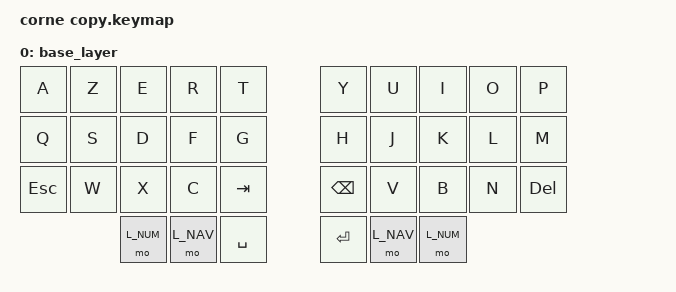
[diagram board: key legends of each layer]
// &mo LOWER

// layer tap : hold = enable layer LOWER else tap/send key space
// &lt LOWER SPACE

/*&lt {
  tapping-term-ms = <200>;
};*/

// enable this layer and disable all layers except the default one
// &to LOWER

// toggle layer
// &tog LOWER

// &trans
// &none

// hold tab : hold = LSHIFT est activé else tap/send key F
// &mt LSHIFT F

// &ht_hp : hold     : si on presse une autre key pendant celle là, ca fait le hold
// &ht_bp : balanced : si on presse et relâche une autre key pendant celle là, ca fait le hold
// &ht_tp : tap      : si on presse une autre key pendant celle là, ca ne fait rien


// ======
#include <behaviors.dtsi>
#include <dt-bindings/zmk/keys.h>
#include <dt-bindings/zmk/bt.h>

#include "keymap_french.h"
// #include "helper.h"
// #include "french_unicode.dtsi"

#define L_BASE 0
#define L_NUM  1
#define L_NAV  2

// ========
// BEHAVIOR
// ========

behaviors {
  single_quote_backquote: hold-tap {
    compatible = "zmk,behavior-hold-tap";
    label = "SINGLE_QUOTE_BACKQUOTE";
    #binding-cells = <2>;
    flavor = "tap-unless-interrupted";
    tapping-term-ms = <200>;
    bindings = <SINGLE_QUOTE, BACKQUOTE>;
  };
};

// =====
// COMBO
// =====

combos {
  compatible = "zmk,combos";
  combo_esc {
    timeout-ms = <30>;
    key-positions = <0 1>;
    bindings = <&kp ESC>;
  };
  combo_ae {
    timeout-ms = <30>;
    key-positions = <0 2>;
    bindings = <&AE>;
  };
  combo_oe {
    timeout-ms = <30>;
    key-positions = <2 8>;
    bindings = <&OE>;
  };
};


// ======
// KEYMAP
// ======

/ {
  keymap {
    compatible = "zmk,keymap";

    base_layer {
      bindings = <
        &kp A      &kp Z &kp E &kp R &kp T        &kp Y         &kp U &kp I &kp O &kp P
        &kp Q      &kp S &kp D &kp F &kp G        &kp H         &kp J &kp K &kp L &kp M 
        &kp ESCAPE &kp W &kp X &kp C &kp TAB      &kp BACKSPACE &kp V &kp B &kp N &kp DELETE 

        &mo L_NUM &mo L_NAV &kp SPACE             &kp ENTER &mo L_NAV &mo L_NUM 
      >;
    };
/*
    num_layer {
      bindings = <
        &kp AMPERSAND &kp DOUBLE_QUOTES &single_quote_backquote &kp HASH &kp TILDE      &kp 

        &kp NUMBER_1 &kp NUMBER_2 &kp NUMBER_3 &kp NUMBER_4 &kp NUMBER_5    &kp NUMBER_6 &kp NUMBER_7 &kp NUMBER_8 &kp NUMBER_9 &kp NUMBER_0 
        &bt BT_SEL 1 &bt BT_SEL 2 &bt BT_SEL 3 &bt BT_SEL 4 &bt BT_SEL 5    &kp LEFT_ARROW &kp DOWN_ARROW &kp UP_ARROW &kp RIGHT_ARROW &trans 
        &trans &trans &trans &trans &trans                                  &trans &trans &trans &trans &trans 
        &kp LEFT_GUI &trans &kp RETURN                                      &kp SPACE &trans &kp RIGHT_ALT 
      >;
    };

    nav_layer {
      bindings = <
        &kp EXCLAMATION &kp AT_SIGN &kp HASH &kp DOLLAR &kp PERCENT          &kp CARET &kp AMPERSAND &kp ASTERISK &kp LEFT_PARENTHESIS &kp RIGHT_PARENTHESIS
        &trans &trans &trans &trans &trans                                   &kp MINUS &kp EQUAL &kp LEFT_BRACKET &kp RIGHT_BRACKET &kp BACKSLASH 
        &trans &trans &trans &trans &trans                                   &kp UNDERSCORE &kp PLUS &kp LEFT_BRACE &kp RIGHT_BRACE &kp PIPE 
        &kp LEFT_GUI &trans &kp SPACE                                        &kp RETURN &trans &kp RIGHT_ALT 
      >;
    };
*/
  };
};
